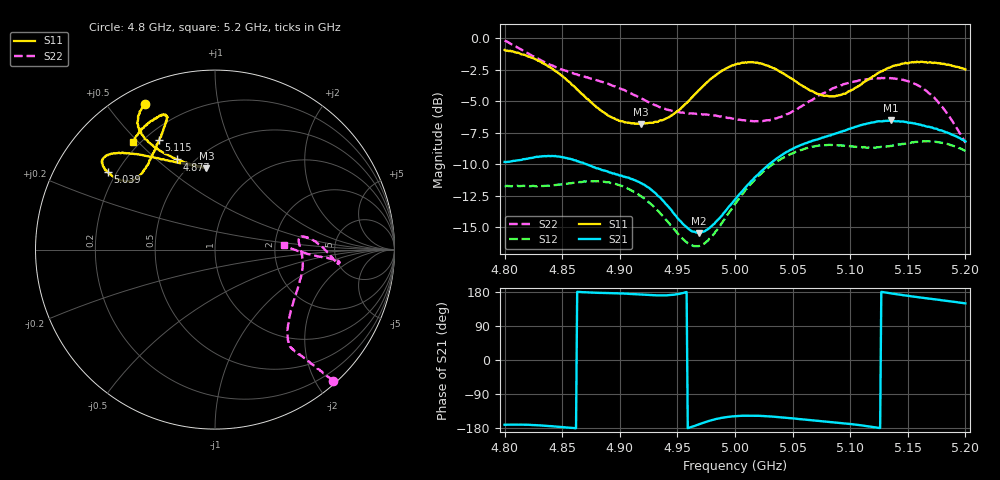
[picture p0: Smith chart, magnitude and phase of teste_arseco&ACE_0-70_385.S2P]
! Network Analyzer HP8722D
! Hewlett-Packard
! Data name: Linha & Wilkinson
! Saver's name: Rodrigo Anjos
! Comments: Teste da utilização de aquisição
! continua pelo VNA HP8722D
! Time and date: 8/5/2025 15:58
!  Frequency  S11  S21  S12  S22
# HZ  S  MA R 50
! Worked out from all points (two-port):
!   401 points, 4.8 GHz to 5.2 GHz, reference 50 ohm
!   highest |S21| = -6.52 dB at 5.135 GHz (marker M1); lowest = -15.5 dB at 4.969 GHz (marker M2)
!   |S21| within 3 dB of the highest: 4.822 GHz to 4.854 GHz (32.79 MHz wide, 0.678 % of centre); 5.037 GHz to end of sweep
!   lowest |S11| = -6.8 dB at 4.918 GHz (marker M3), VSWR 2.69, Z = 30.3 + j34.8 ohm
!   |S11| at or under -10 dB: nowhere
!   |S22| runs from -8.3 to -0.2 dB; largest |S21 - S12| = 0.83
!   S11 on the Smith chart (normalised r, x): 4.8 GHz: 0.07, +0.63; 4.877 GHz: 0.41, +0.58; 5.039 GHz: 0.17, +0.32; 5.115 GHz: 0.26, +0.58; 5.2 GHz: 0.17, +0.48
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4.8e9  0.8993 115.6  0.323 -170.9  0.2589 -86.3  0.9813 -48.0
4.833e9  0.7966 122.0  0.3403 -173.0  0.2592 -77.6  0.8121 -50.0
4.848e9  0.7205 121.9  0.3386 -176.6  0.2624 -72.7  0.7572 -51.0
4.867e9  0.6013 117.5  0.3213 179.0  0.2686 -68.0  0.7101 -51.9
4.877e9  0.5462 113.1  0.3081 177.6  0.2704 -67.1  0.6886 -52.2
4.9e9  0.4698 100.6  0.2852 175.7  0.2606 -67.5  0.6323 -50.3
4.918e9  0.4576 96.0  0.2662 172.8  0.2365 -69.6  0.5789 -44.9
4.934e9  0.4695 100.2  0.2352 170.4  0.205 -70.1  0.5344 -37.0
4.957e9  0.5493 116.3  0.1793 178.6  0.1561 -59.6  0.5065 -21.8
4.969e9  0.6245 124.3  0.1687 -169.4  0.1498 -46.1  0.5015 -14.7
4.981e9  0.702 130.5  0.1821 -157.9  0.1658 -32.9  0.4942 -8.5
5e9  0.7872 137.3  0.2289 -148.4  0.2204 -21.8  0.4778 -0.2
5.019e9  0.8015 141.8  0.2855 -147.4  0.2794 -19.1  0.4688 5.7
5.039e9  0.7368 144.2  0.3398 -150.9  0.3294 -19.2  0.4865 8.5
5.067e9  0.6184 141.9  0.3919 -159.0  0.3714 -21.7  0.5689 3.7
5.088e9  0.5923 132.6  0.42 -165.0  0.3764 -24.9  0.6407 -2.8
5.115e9  0.6835 117.0  0.4593 -174.8  0.3676 -27.8  0.6888 -6.4
5.134e9  0.7639 110.7  0.4702 176.6  0.3728 -29.8  0.695 -5.8
5.135e9  0.7691 110.7  0.4721 176.2  0.3739 -29.9  0.6957 -5.6
5.163e9  0.8062 112.8  0.4509 164.2  0.3894 -36.9  0.6336 -4.3
5.18e9  0.7914 118.9  0.4295 157.5  0.3846 -42.3  0.5338 -3.0
5.2e9  0.753 127.5  0.3898 149.4  0.357 -47.7  0.3846 3.7
